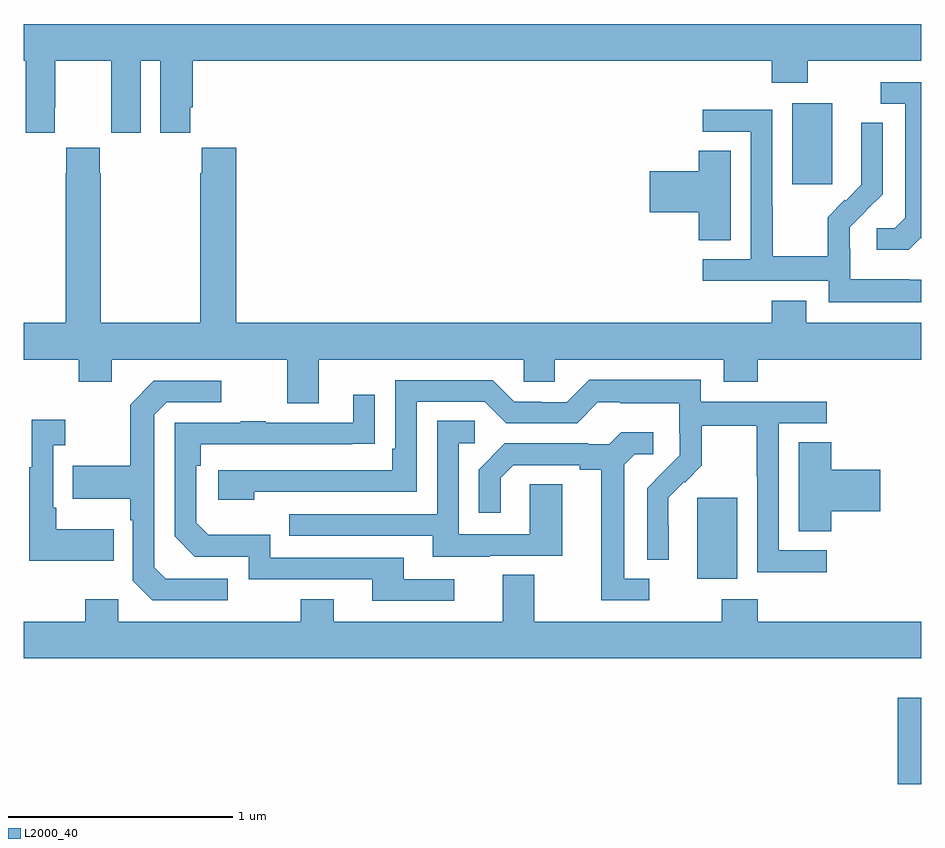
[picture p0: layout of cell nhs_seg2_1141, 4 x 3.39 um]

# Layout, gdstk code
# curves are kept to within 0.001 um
import gdstk
lib = gdstk.Library(unit=1e-6, precision=1e-09)
def R(c, l, rs):  # rectangles x0, y0, x1, y1
    for r in rs: c.add(gdstk.rectangle(r[:2], r[2:], *l))
def P(c, l, *ps):  # polygons
    for p in ps: c.add(gdstk.Polygon(p, *l))
L2000_40 = (2000, 40)

nhs_seg2_1141 = lib.new_cell('nhs_seg2_1141')
R(nhs_seg2_1141, L2000_40, [(174.896,589.8,175,590.185), (174.002,590.714,174.181,591.075), (174.425,592.473,174.604,592.834)])
P(nhs_seg2_1141, L2000_40, [(171.138,592.816),(171.139,592.816),(171.139,593.024),(171.389,593.024),(171.389,592.816),(171.39,592.816),(171.39,592.704),(171.52,592.704),(171.52,593.024),(171.608,593.024),(171.608,592.704),(171.742,592.704),(171.742,592.816),(171.752,592.816),(171.752,593.024),(174.335,593.024),(174.335,592.925),(174.495,592.925),(174.495,593.024),(175,593.024),(175,593.188),(171,593.188),(171,593.024),(171.008,593.024),(171.008,592.704),(171.138,592.704)],
  [(174.996,592.233),(175,592.233),(175,592.929),(174.819,592.929),(174.819,592.833),(174.929,592.833),(174.929,592.325),(174.882,592.278),(174.801,592.278),(174.801,592.181),(174.944,592.181)],
  [(175,592.047),(174.947,592.047),(174.947,592.051),(174.684,592.051),(174.684,592.185),(174.682,592.185),(174.682,592.282),(174.828,592.43),(174.828,592.748),(174.732,592.748),(174.732,592.594),(174.734,592.594),(174.734,592.472),(174.663,592.401),(174.66,592.404),(174.583,592.327),(174.583,592.153),(174.339,592.153),(174.339,592.376),(174.336,592.376),(174.336,592.806),(174.027,592.806),(174.027,592.707),(174.24,592.707),(174.24,592.14),(174.027,592.14),(174.027,592.044),(174.588,592.044),(174.588,591.947),(175,591.947)],
  [(172.315,591.692),(173.229,591.692),(173.229,591.594),(173.367,591.594),(173.367,591.692),(174.119,591.692),(174.119,591.593),(174.272,591.593),(174.272,591.692),(175,591.692),(175,591.856),(174.487,591.856),(174.487,591.955),(174.335,591.955),(174.335,591.856),(171.947,591.856),(171.947,592.636),(171.793,592.636),(171.793,592.523),(171.787,592.523),(171.787,591.856),(171.342,591.856),(171.342,592.523),(171.339,592.523),(171.339,592.636),(171.189,592.636),(171.189,592.523),(171.187,592.523),(171.187,591.856),(171,591.856),(171,591.692),(171.244,591.692),(171.244,591.593),(171.391,591.593),(171.391,591.692),(172.175,591.692),(172.175,591.498),(172.315,591.498)],
  [(174.151,592.622),(174.008,592.622),(174.008,592.532),(173.79,592.532),(173.79,592.349),(174.008,592.349),(174.008,592.225),(174.151,592.225)],
  [(174.58,590.841),(174.366,590.841),(174.366,591.408),(174.58,591.408),(174.58,591.504),(174.018,591.504),(174.018,591.601),(173.521,591.601),(173.421,591.501),(173.306,591.501),(173.306,591.504),(173.187,591.504),(173.091,591.6),(172.656,591.6),(172.656,591.295),(172.643,591.295),(172.643,591.198),(171.867,591.198),(171.867,591.068),(172.028,591.068),(172.028,591.102),(172.752,591.102),(172.752,591.504),(173.055,591.504),(173.151,591.408),(173.466,591.408),(173.559,591.501),(173.659,591.501),(173.659,591.497),(173.922,591.497),(173.922,591.363),(173.924,591.363),(173.924,591.266),(173.778,591.118),(173.778,590.8),(173.874,590.8),(173.873,591.077),(173.943,591.147),(173.946,591.144),(174.023,591.221),(174.023,591.396),(174.268,591.396),(174.268,591.172),(174.27,591.172),(174.27,590.743),(174.58,590.743)],
  [(171.91,590.715),(171.633,590.715),(171.582,590.766),(171.582,591.447),(171.636,591.501),(171.88,591.501),(171.88,591.597),(171.579,591.597),(171.474,591.491),(171.474,591.219),(171.217,591.219),(171.217,591.071),(171.474,591.071),(171.474,590.975),(171.486,590.975),(171.486,590.706),(171.573,590.619),(171.91,590.619)],
  [(172.918,590.712),(172.693,590.712),(172.693,590.808),(172.098,590.808),(172.098,590.911),(171.821,590.911),(171.768,590.964),(171.768,591.218),(171.788,591.218),(171.788,591.315),(172.565,591.316),(172.565,591.535),(172.469,591.535),(172.469,591.411),(172.079,591.411),(172.079,591.416),(171.967,591.416),(171.967,591.411),(171.672,591.411),(171.672,590.904),(171.762,590.814),(172.002,590.814),(172.002,590.712),(172.553,590.712),(172.553,590.616),(172.918,590.616)],
  [(171.401,590.935),(171.145,590.935),(171.145,591.031),(171.132,591.031),(171.132,591.311),(171.184,591.311),(171.184,591.424),(171.035,591.424),(171.035,591.211),(171.024,591.211),(171.024,590.795),(171.401,590.795)],
  [(173.077,590.817),(173.401,590.817),(173.401,591.137),(173.256,591.137),(173.256,590.913),(172.938,590.913),(172.938,591.318),(173.011,591.318),(173.011,591.419),(172.842,591.419),(172.842,591.003),(172.183,591.003),(172.183,590.907),(172.823,590.907),(172.823,590.813),(173.077,590.813)],
  [(173.788,590.715),(173.677,590.715),(173.677,591.223),(173.724,591.27),(173.806,591.27),(173.806,591.367),(173.662,591.367),(173.61,591.315),(173.516,591.315),(173.516,591.318),(173.144,591.318),(173.028,591.202),(173.028,591.009),(173.125,591.009),(173.125,591.165),(173.182,591.222),(173.477,591.222),(173.477,591.2),(173.573,591.2),(173.573,590.619),(173.788,590.619)],
  [(174.599,591.017),(174.817,591.017),(174.817,591.2),(174.599,591.2),(174.599,591.323),(174.455,591.323),(174.455,590.926),(174.599,590.926)],
  [(175,590.524),(174.272,590.524),(174.272,590.623),(174.112,590.623),(174.112,590.524),(173.275,590.524),(173.275,590.732),(173.135,590.732),(173.135,590.524),(172.381,590.524),(172.381,590.623),(172.234,590.623),(172.234,590.524),(171.42,590.524),(171.42,590.623),(171.274,590.623),(171.274,590.524),(171,590.524),(171,590.36),(175,590.36)])

lib.write_gds('nhs_seg2_1141.gds')
